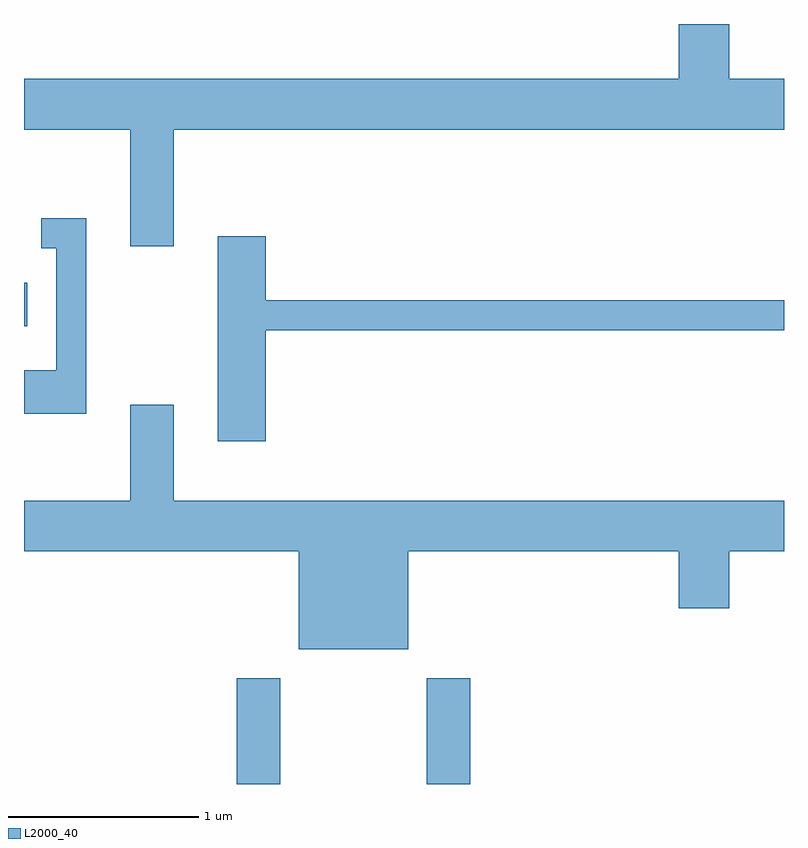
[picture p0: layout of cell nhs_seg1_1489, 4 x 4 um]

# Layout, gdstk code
import gdstk
lib = gdstk.Library(unit=1e-6, precision=1e-09)
def R(c, l, rs):  # rectangles x0, y0, x1, y1
    for r in rs: c.add(gdstk.rectangle(r[:2], r[2:], *l))
def P(c, l, *ps):  # polygons
    for p in ps: c.add(gdstk.Polygon(p, *l))
L2000_40 = (2000, 40)

nhs_seg1_1489 = lib.new_cell('nhs_seg1_1489')
R(nhs_seg1_1489, L2000_40, [(232.731,871.712,232.959,872.269), (233.731,871.712,233.959,872.269), (231.611,874.121,231.629,874.349)])
P(nhs_seg1_1489, L2000_40, [(232.399,875.156),(235.611,875.156),(235.611,875.424),(235.324,875.424),(235.324,875.712),(235.056,875.712),(235.056,875.424),(231.611,875.424),(231.611,875.156),(232.171,875.156),(232.171,874.541),(232.399,874.541)],
  [(231.939,874.689),(231.703,874.689),(231.703,874.531),(231.781,874.531),(231.781,873.889),(231.611,873.889),(231.611,873.661),(231.939,873.661)],
  [(232.884,874.101),(235.611,874.101),(235.611,874.259),(232.884,874.259),(232.884,874.594),(232.631,874.594),(232.631,873.516),(232.884,873.516)],
  [(233.634,872.936),(235.056,872.936),(235.056,872.636),(235.324,872.636),(235.324,872.936),(235.611,872.936),(235.611,873.204),(232.399,873.204),(232.399,873.709),(232.171,873.709),(232.171,873.204),(231.611,873.204),(231.611,872.936),(233.056,872.936),(233.056,872.421),(233.634,872.421)])

lib.write_gds('nhs_seg1_1489.gds')
